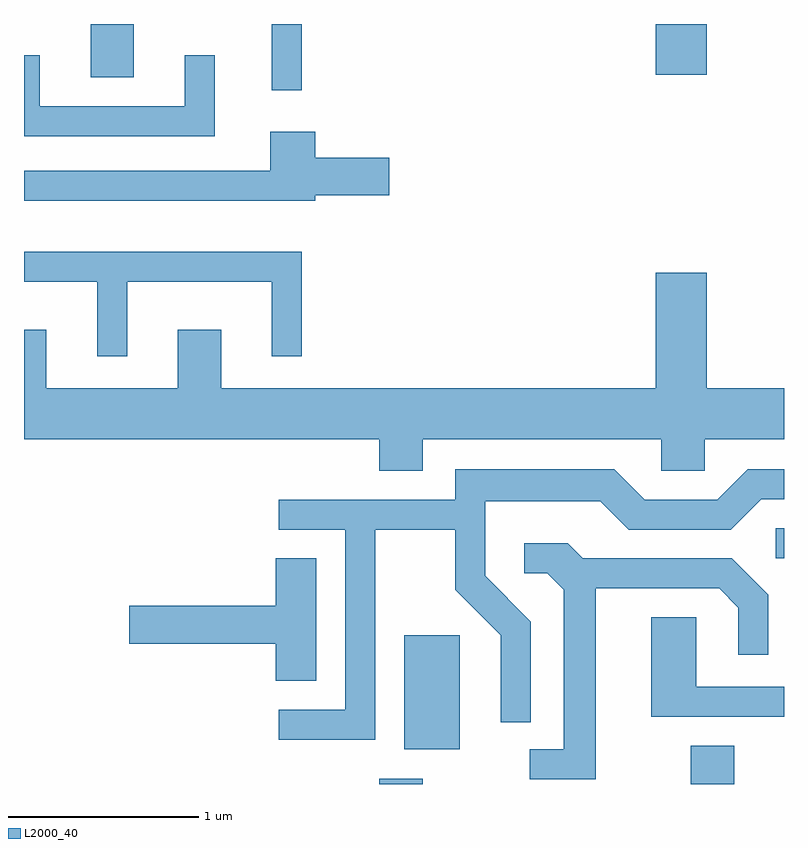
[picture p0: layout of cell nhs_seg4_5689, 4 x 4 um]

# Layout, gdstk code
import gdstk
lib = gdstk.Library(unit=1e-6, precision=1e-09)
def R(c, l, rs):  # rectangles x0, y0, x1, y1
    for r in rs: c.add(gdstk.rectangle(r[:2], r[2:], *l))
def P(c, l, *ps):  # polygons
    for p in ps: c.add(gdstk.Polygon(p, *l))
L2000_40 = (2000, 40)

nhs_seg4_5689 = lib.new_cell('nhs_seg4_5689')
R(nhs_seg4_5689, L2000_40, [(353.481,1343.982,353.709,1344.009), (355.121,1343.982,355.349,1344.184), (353.611,1344.166,353.904,1344.764), (355.568,1345.171,355.611,1345.329), (352.916,1347.633,353.074,1347.982), (351.961,1347.701,352.189,1347.982), (354.936,1347.716,355.204,1347.982)])
P(nhs_seg4_5689, L2000_40, [(352.614,1347.818),(352.456,1347.818),(352.456,1347.549),(351.694,1347.549),(351.694,1347.818),(351.611,1347.818),(351.611,1347.391),(352.614,1347.391)],
  [(353.144,1347.081),(353.534,1347.081),(353.534,1347.279),(353.144,1347.279),(353.144,1347.414),(352.906,1347.414),(352.906,1347.209),(351.611,1347.209),(351.611,1347.051),(353.144,1347.051)],
  [(352.154,1346.626),(352.916,1346.626),(352.916,1346.233),(353.074,1346.233),(353.074,1346.784),(351.611,1346.784),(351.611,1346.626),(351.996,1346.626),(351.996,1346.233),(352.154,1346.233)],
  [(352.649,1346.374),(352.421,1346.374),(352.421,1346.064),(351.729,1346.064),(351.729,1346.374),(351.611,1346.374),(351.611,1345.796),(353.481,1345.796),(353.481,1345.631),(353.709,1345.631),(353.709,1345.796),(354.966,1345.796),(354.966,1345.631),(355.194,1345.631),(355.194,1345.796),(355.611,1345.796),(355.611,1346.064),(355.204,1346.064),(355.204,1346.674),(354.936,1346.674),(354.936,1346.064),(352.649,1346.064)],
  [(353.459,1345.321),(353.881,1345.321),(353.881,1345.004),(354.121,1344.764),(354.121,1344.308),(354.279,1344.308),(354.279,1344.837),(354.039,1345.077),(354.039,1345.471),(354.644,1345.471),(354.794,1345.321),(355.332,1345.321),(355.492,1345.481),(355.611,1345.481),(355.611,1345.639),(355.419,1345.639),(355.259,1345.479),(354.877,1345.479),(354.717,1345.639),(353.881,1345.639),(353.881,1345.479),(352.953,1345.479),(352.953,1345.321),(353.301,1345.321),(353.301,1344.374),(352.953,1344.374),(352.953,1344.216),(353.459,1344.216)],
  [(354.619,1345.011),(355.269,1345.011),(355.371,1344.909),(355.371,1344.663),(355.529,1344.663),(355.529,1344.977),(355.337,1345.169),(354.552,1345.169),(354.472,1345.249),(354.243,1345.249),(354.243,1345.091),(354.364,1345.091),(354.451,1345.004),(354.451,1344.164),(354.273,1344.164),(354.273,1344.006),(354.619,1344.006)],
  [(353.149,1345.169),(352.936,1345.169),(352.936,1344.919),(352.166,1344.919),(352.166,1344.721),(352.936,1344.721),(352.936,1344.526),(353.149,1344.526)],
  [(355.611,1344.494),(355.149,1344.494),(355.149,1344.859),(354.911,1344.859),(354.911,1344.336),(355.611,1344.336)])

lib.write_gds('nhs_seg4_5689.gds')
